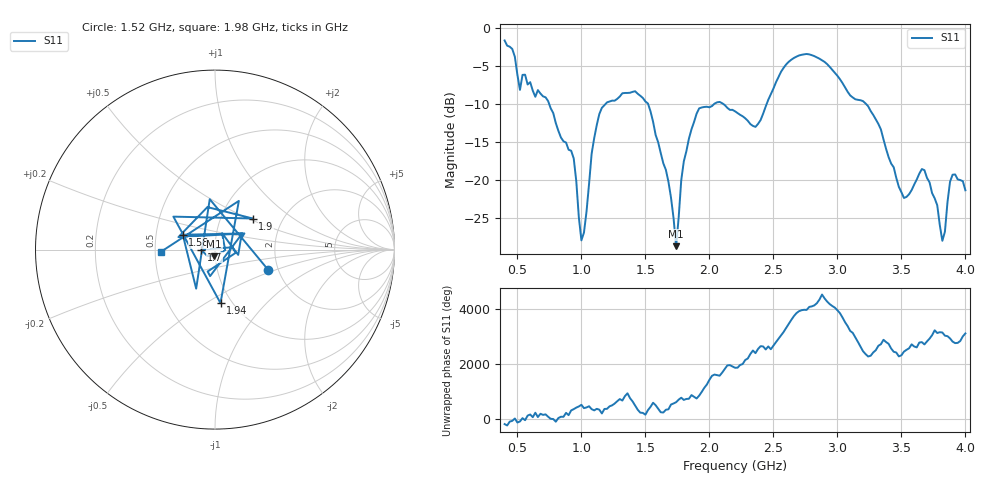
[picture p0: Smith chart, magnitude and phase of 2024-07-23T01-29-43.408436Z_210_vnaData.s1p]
!Created with skrf (http://scikit-rf.org).
# Hz S RI R 50.0
!freq ReS11 ImS11
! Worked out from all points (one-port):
!   181 points, 400 MHz to 4 GHz, reference 50 ohm
!   lowest |S11| = -28.7 dB at 1.74 GHz (marker M1), VSWR 1.08, Z = 49.5 - j3.62 ohm
!   |S11| at or under -10 dB: 747.9 MHz to 1.189 GHz (440.9 MHz wide, 45.5 % of centre); 1.521 GHz to 2.038 GHz (516.4 MHz wide, 29 % of centre); 3.224 GHz to end of sweep (the widest 3 of 4)
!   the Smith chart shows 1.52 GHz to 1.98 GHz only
!   S11 on the Smith chart (normalised r, x): 1.52 GHz: 1.77, -0.45; 1.58 GHz: 0.69, +0.12; 1.7 GHz: 0.86, -0.00; 1.9 GHz: 1.42, +0.53; 1.94 GHz: 0.88, -0.58; 1.98 GHz: 0.54, -0.02
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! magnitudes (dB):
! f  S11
! 400 MHz  -1.7
! 520 MHz  -8.2
! 560 MHz  -6.2
! 720 MHz  -9.1
! 860 MHz  -14.9
! 940 MHz  -17.2
! 1 GHz  -27.9
! 1.14 GHz  -11.3
! 1.3 GHz  -9.0
! 1.52 GHz  -9.9
! 1.58 GHz  -14.1
! 1.7 GHz  -22.3
! 1.74 GHz  -28.7
! 1.76 GHz  -24.9
! 1.8 GHz  -17.6
! 1.9 GHz  -11.3
! 1.94 GHz  -10.5
! 1.98 GHz  -10.4
! 2.2 GHz  -11.0
! 2.36 GHz  -13.0
! 2.66 GHz  -4.0
! 3.1 GHz  -8.9
! 3.24 GHz  -10.3
! 3.56 GHz  -21.9
! 3.68 GHz  -18.7
! 3.82 GHz  -28.0
! 3.9 GHz  -19.3
! 4 GHz  -21.4
